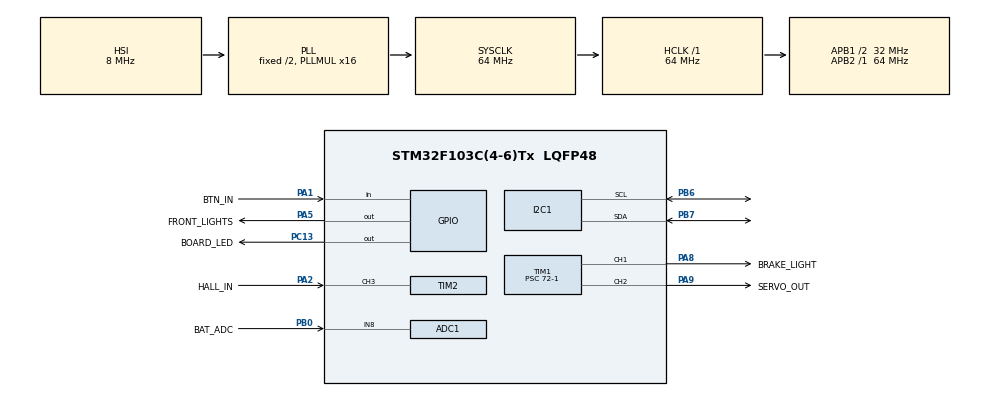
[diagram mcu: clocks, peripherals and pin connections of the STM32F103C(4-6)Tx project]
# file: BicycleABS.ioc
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ADC1.Channel-6\#ChannelRegularConversion=ADC_CHANNEL_8
ADC1.NbrOfConversionFlag=1
ADC1.Rank-6\#ChannelRegularConversion=1
ADC1.SamplingTime-6\#ChannelRegularConversion=ADC_SAMPLETIME_239CYCLES_5
ADC1.master=1
I2C1.I2C_Mode=I2C_Fast
Mcu.Family=STM32F1
Mcu.Name=STM32F103C(4-6)Tx
Mcu.Package=LQFP48
NVIC.PriorityGroup=NVIC_PRIORITYGROUP_4
NVIC.TIM2_IRQn=true\:0\:0\:false\:false\:true\:true\:true\:true
NVIC.TIM3_IRQn=true\:0\:0\:false\:false\:true\:true\:true\:true
PA1.GPIO_Label=BTN_IN
PA1.GPIO_PuPd=GPIO_PULLUP
PA1.Signal=GPIO_Input
PA13.Mode=Serial_Wire
PA13.Signal=SYS_JTMS-SWDIO
PA14.Mode=Serial_Wire
PA14.Signal=SYS_JTCK-SWCLK
PA2.GPIO_Label=HALL_IN
PA2.GPIO_PuPd=GPIO_PULLUP
PA2.Signal=S_TIM2_CH3
PA5.GPIO_Label=FRONT_LIGHTS
PA5.Signal=GPIO_Output
PA8.GPIO_Label=BRAKE_LIGHT
PA8.Signal=S_TIM1_CH1
PA9.GPIO_Label=SERVO_OUT
PA9.Signal=S_TIM1_CH2
PB0.GPIO_Label=BAT_ADC
PB0.Signal=ADCx_IN8
PB6.Mode=I2C
PB6.Signal=I2C1_SCL
PB7.Mode=I2C
PB7.Signal=I2C1_SDA
PC13-TAMPER-RTC.GPIO_Label=BOARD_LED
PC13-TAMPER-RTC.Signal=GPIO_Output
PD0-OSC_IN.Mode=HSE-External-Clock-Source
PD0-OSC_IN.Signal=RCC_OSC_IN
PD1-OSC_OUT.Mode=HSE-External-Clock-Source
PD1-OSC_OUT.Signal=RCC_OSC_OUT
ProjectManager.HeapSize=0x200
ProjectManager.StackSize=0x400
ProjectManager.TargetToolchain=STM32CubeIDE
RCC.ADCPresc=RCC_ADCPCLK2_DIV6
RCC.AHBFreq_Value=64000000
RCC.APB1CLKDivider=RCC_HCLK_DIV2
RCC.APB1Freq_Value=32000000
RCC.APB1TimFreq_Value=64000000
RCC.APB2Freq_Value=64000000
RCC.APB2TimFreq_Value=64000000
RCC.HCLKFreq_Value=64000000
RCC.PLLMUL=RCC_PLL_MUL16
RCC.SYSCLKFreq_VALUE=64000000
RCC.SYSCLKSource=RCC_SYSCLKSOURCE_PLLCLK
RCC.USBFreq_Value=64000000
SH.ADCx_IN8.0=ADC1_IN8,IN8
SH.S_TIM1_CH1.0=TIM1_CH1,PWM Generation1 CH1
SH.S_TIM1_CH2.0=TIM1_CH2,PWM Generation2 CH2
SH.S_TIM2_CH3.0=TIM2_CH3,Input_Capture3_from_TI3
TIM1.Channel-PWM\ Generation1\ CH1=TIM_CHANNEL_1
TIM1.Channel-PWM\ Generation2\ CH2=TIM_CHANNEL_2
TIM1.Period=20000-1
TIM1.Prescaler=72-1
TIM1.Pulse-PWM\ Generation1\ CH1=9999
TIM1.Pulse-PWM\ Generation2\ CH2=9999
TIM1.TIM_MasterOutputTrigger=TIM_TRGO_RESET
TIM1.TIM_MasterSlaveMode=TIM_MASTERSLAVEMODE_DISABLE
TIM2.Channel-Input_Capture3_from_TI3=TIM_CHANNEL_3
TIM2.ICFilter_CH3=0
TIM2.ICPrescaler-Input_Capture3_from_TI3=TIM_ICPSC_DIV1
TIM2.Period=65535
TIM2.Prescaler=14999
TIM3.Period=3000-1
TIM3.Prescaler=1200-1
VP_TIM1_VS_ClockSourceINT.Mode=Internal
VP_TIM2_VS_ClockSourceINT.Mode=Internal
VP_TIM3_VS_ClockSourceINT.Mode=Internal
board=custom

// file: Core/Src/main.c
/* USER CODE BEGIN Header */
/**
  ******************************************************************************
  * @file           : main.c
  * @brief          : Main program body
  ******************************************************************************
  * @attention
  *
  * Copyright (c) 2024 STMicroelectronics.
  * All rights reserved.
  *
  * This software is licensed under terms that can be found in the LICENSE file
  * in the root directory of this software component.
  * If no LICENSE file comes with this software, it is provided AS-IS.
  *
  ******************************************************************************
  */
/* USER CODE END Header */
#include "main.h"
#include "adc.h"
#include "i2c.h"
#include "tim.h"
#include "gpio.h"

/* USER CODE BEGIN Includes */
#include <inttypes.h>
#include <stdio.h>
#include <stdlib.h>
#include "As5600.h"
#include "servo.h"
#include "stm32f1xx_ll_exti.h"

#include "../sh1106/sh1106.h"
#include "../bitmaps/bitmaps.h"
#include "../menu/menu.h"
#include "../settings.h"
#include "../button/button.h"
/* USER CODE END Includes */

/* USER CODE BEGIN PV */
uint32_t kmh = 0;
int32_t last_kmh = 0;
int32_t kmh_diff = 0;
uint32_t brake_lever_angle = 0;
int32_t servo_angle = 0;
int32_t min_servo_angle = 0;

bool abs_on = false;				// if true, the ABS is currently operating
uint32_t abs_time = 0;			// time of the ABS activation

uint64_t apb1_timer_clock = 0;
uint64_t timer_update_constant = 0;
uint64_t period = 0;
uint32_t last_period = 0;
uint32_t last_capture_time = 0;

uint32_t light_mode = 0;

uint32_t last_capture_value = 0;
float last_freq = 0.00;
float current_freq = 0.00;
float avg_freq = 0.00;

char text[50];
/* USER CODE END PV */

void SystemClock_Config(void);

/* USER CODE BEGIN 0 */
long mapInt(uint32_t x, int32_t in_min, int32_t in_max, int32_t out_min, int32_t out_max) {
  return (x - in_min) * (out_max - out_min) / (in_max - in_min) + out_min;
}

uint32_t constrain(uint32_t value, uint32_t max, uint32_t min)
{
	if (value >= max)
		return max;
	else if (value <= min)
		return min;
	return value;
}

uint32_t offset(uint32_t value, uint32_t offset)
{
	if (value <= offset)
		return 0;
	else
		return value - offset;
}

/* USER CODE END 0 */

int main(void)
{

  /* MCU Configuration--------------------------------------------------------*/

  /* Reset of all peripherals, Initializes the Flash interface and the Systick. */
  HAL_Init();

  /* Configure the system clock */
  SystemClock_Config();

  /* Initialize all configured peripherals */
  MX_GPIO_Init();
  MX_TIM1_Init();
  MX_TIM2_Init();
  MX_TIM3_Init();
  MX_I2C1_Init();
  MX_ADC1_Init();
  /* USER CODE BEGIN 2 */
  HAL_TIM_PWM_Start(&htim1, TIM_CHANNEL_1);
  HAL_TIM_PWM_Start(&htim1, TIM_CHANNEL_2);
  HAL_TIM_IC_Start_IT(&htim2, TIM_CHANNEL_3);
  //HAL_TIM_PWM_Start(&htim3, TIM_CHANNEL_1);
  HAL_TIM_Base_Start_IT(&htim3);
  HAL_ADCEx_Calibration_Start(&hadc1);

  apb1_timer_clock = HAL_RCC_GetPCLK1Freq() * 2 / 100;
  timer_update_constant = (TIM3->PSC + 1) * (TIM3->ARR + 1) * (720 / ((TIM2->PSC + 1) / 1000));

  SERVO_Write(&htim1, TIM_CHANNEL_2, servo_max, 1);

  SH1106_Init();
  SH1106_SetBrightness(screen_brightness);
  SH1106_ClearScreen();

  AS5600_TypeDef as5600;
  AS5600_Init();
  Get_Magnet_Status(&as5600);
  bool magnet_status = as5600.Status_Magnet;

  if (magnet_status) SH1106_WriteChars(0, 0, "magnete ok", 10, Arial_12pt, 1);
  else
  {
	  SH1106_WriteChars(0, 0, "Magnete NON OK\nPremi un tasto\nper continuare", 44, Arial_12pt, 1);
	  while (1)
	  {
		  if (!HAL_GPIO_ReadPin(BTN_IN_GPIO_Port, BTN_IN_Pin))
			  break;
	  }
  }

  SH1106_ClearScreen();
  SH1106_SetScreenAutoUpdate(false);

  uint32_t flashing_lights_time = 0;
  uint32_t deltat = 0;
  uint32_t last_time = 0;
  float traveled_meters = 0.00;
  uint32_t mvbat = 0;
  bool show_low_bat = false;
  char decimal_travel_string[2];
  uint32_t raw_brake_lever_angle = 0;
  /* USER CODE END 2 */

  /* Infinite loop */
  /* USER CODE BEGIN WHILE */
  while (1)
  {
	  deltat = uwTick - last_time;
	  last_time = uwTick;

	  // clear screen
	  SH1106_FillScreen(BLACK);

	  Get_Raw_Angle(&as5600);
	  raw_brake_lever_angle = as5600.Raw_sensor_Angle;
	  brake_lever_angle = offset(raw_brake_lever_angle, BRAKE_ANGLE_OFFSET);

	  if (!abs_on)
	  {
		  servo_angle = mapInt((int16_t)(brake_lever_angle), 0, BRAKE_ANGLE_MAX, servo_max, servo_min);
		  servo_angle = constrain(servo_angle, servo_max, servo_min);
	  }
	  else
	  {
		  // increase brake pressure gradually
		  if (servo_angle - SERVO_ABS_BRAKE_RATE > min_servo_angle && min_servo_angle >= servo_min)
			  servo_angle -= SERVO_ABS_BRAKE_RATE;
		  else abs_on = false;
	  }

	  if (mvbat > LOW_BATTERY_THRESHOLD)
	  {
		  if (servo_enabled)
			  SERVO_Write(&htim1, TIM_CHANNEL_2, servo_angle, 1);
		  else
		  {
			  if (!servo_hold)
				  SERVO_Write(&htim1, TIM_CHANNEL_2, servo_max, 1);
		  }
	  }
	  else
		  SERVO_Write(&htim1, TIM_CHANNEL_2, servo_max, 1);

	  // disable abs if brake lever is released
	  if (brake_lever_angle <= BRAKE_THRESHOLD || (kmh == 0 && brake_lever_angle <= BRAKE_THRESHOLD))
		  abs_on = false;

	  // -------------------- TRAVEL --------------------
	  traveled_meters += (float)kmh / 3.6 * (float)deltat / 1000.0;
	  uint32_t int_travel = traveled_meters / 1000;
	  uint32_t decimal_travel = traveled_meters - int_travel * 1000;

	  // -------------------- BATTERY VOLTAGE --------------------
	  HAL_ADC_Start(&hadc1);
	  HAL_ADC_PollForConversion(&hadc1, HAL_MAX_DELAY);
	  uint32_t raw_value = HAL_ADC_GetValue(&hadc1);
	  float vbat = (float)raw_value / 4096.0 * 3.3 * 4;
	  mvbat = vbat * 1000;
	  uint32_t int_volt = vbat;
	  uint32_t decimal_volt = vbat * 100 - int_volt * 100;

	  // -------------------- HEADLIGHT AND BRAKE LIGHT --------------------
	  switch (light_mode)
	  {
	  case 0:
	  {
		  // -------------------- LIGHTS OFF --------------------
		  HAL_GPIO_WritePin(FRONT_LIGHTS_GPIO_Port, FRONT_LIGHTS_Pin, GPIO_PIN_RESET);

		  if (servo_angle <= BRAKE_THRESHOLD)
			  __HAL_TIM_SET_COMPARE(&htim1, TIM_CHANNEL_1, TIM1->ARR);
		  else
			  __HAL_TIM_SET_COMPARE(&htim1, TIM_CHANNEL_1, 0);

		  break;
	  }
	  case 1:
	  {
		  // -------------------- LIGHTS ON --------------------
		  HAL_GPIO_WritePin(FRONT_LIGHTS_GPIO_Port, FRONT_LIGHTS_Pin, GPIO_PIN_SET);

		  if (servo_angle <= BRAKE_THRESHOLD)
			  __HAL_TIM_SET_COMPARE(&htim1, TIM_CHANNEL_1, TIM1->ARR);
		  else
			  __HAL_TIM_SET_COMPARE(&htim1, TIM_CHANNEL_1, brake_light_pwm_period);

		  break;
	  }
	  case 2:
	  {
		  // -------------------- FLASHER --------------------
		  if (uwTick - flashing_lights_time > LIGHT_FLASHER_TIME)
		  {
			  flashing_lights_time = uwTick;

			  if (__HAL_TIM_GET_COMPARE(&htim1, TIM_CHANNEL_1) == TIM1->ARR)
				  __HAL_TIM_SET_COMPARE(&htim1, TIM_CHANNEL_1, 0);
			  else
				  __HAL_TIM_SET_COMPARE(&htim1, TIM_CHANNEL_1, TIM1->ARR);
		  }

		  break;
	  }
	  case 3:
	  {
		  light_mode = 0;
		  break;
	  }
	  }

	  // -------------------- DRAWING FUNCTIONS --------------------

	  if (mvbat > LOW_BATTERY_THRESHOLD)
	  {
		  // -------------------- BUTTON --------------------
		  uint8_t press_type = BUTTON_Handle(BTN_IN_GPIO_Port, BTN_IN_Pin, 1);

		  if (MENU_Update() != 0)
		  {
			  // -------------------- MENU --------------------
			  MENU_UpdateData(raw_brake_lever_angle, brake_lever_angle, servo_angle, mvbat);
			  MENU_UpdateDebug(kmh, period, last_capture_value, last_capture_time, current_freq, avg_freq);

			  if (press_type == SHORT_PRESS)
				  MENU_ButtonShortPress();
			  else if (press_type == LONG_PRESS)
				  MENU_ButtonLongPress();
			  SH1106_UpdateEntireFrame();
		  }
		  else
		  {
			  // -------------------- MAIN SCREEN --------------------
			  if (press_type == LONG_PRESS)
				  MENU_Set(1);
			  else if (press_type == SHORT_PRESS)
				  light_mode++;

			  // -------------------- LIGHT INDICATOR --------------------
			  if (light_mode == 1)
				  SH1106_DrawBitmap(light_img, 106, 12, 20, 15, false);
			  else if (light_mode == 2)
			  {
				  if (__HAL_TIM_GET_COMPARE(&htim1, TIM_CHANNEL_1) == TIM1->ARR)
					  SH1106_DrawBitmap(light_img, 106, 12, 20, 15, false);
			  }

			  // -------------------- SPEED --------------------
			  memset(text, 0, sizeof(text));
			  sprintf(text, "%" PRIu32, kmh);
			  uint32_t speed_width = SH1106_GetTextWidth(text, 2, Arial_48pt);
			  if (uwTick - abs_time < 2250)
			  {
				  sprintf(text, "%" PRIu32, kmh);
				  speed_width = SH1106_GetTextWidth(text, 3, Arial_48pt);
				  SH1106_WriteChars(64 - speed_width / 2, 7, text, 3, Arial_48pt, false);

				  SH1106_DrawBitmap(abs_img, 4, 34, 33, 25, false);
			  }
			  else
			  {
				  SH1106_WriteChars(64 - speed_width / 2, 7, text, 2, Arial_48pt, false);
			  }
			  sprintf(text, "kmh");
			  SH1106_WriteChars(68 + speed_width / 2, 38, text, 3, Arial_12pt, false);

			  // -------------------- TRAVEL --------------------
			  memset(text, 0, 6);
			  sprintf(text, "%" PRIu32, decimal_travel);
			  leftPadding(decimal_travel_string, text, 3, '0');
			  sprintf(text, "km:\n%" PRIu32 ".%s", int_travel, decimal_travel_string);
			  SH1106_WriteChars(4, 0, text, 8, Arial_12pt, false);

			  // -------------------- BATTERY --------------------
			  uint32_t battery_charge = mapInt(vbat * 1000, LOW_BATTERY_THRESHOLD, CHARGED_BATTERY_THRESHOLD, 0, BATTERY_CHARGE_WIDTH);
			  SH1106_DrawBitmap(battery_img, 112, 2, 15, 8, false);
			  SH1106_DrawRect(112, 2, battery_charge, 8, BLUE, false);
		  }

	  }
	  else
	  {
		  light_mode = 0;

		  if (uwTick - flashing_lights_time > LIGHT_FLASHER_TIME * 2)
		  {
			  flashing_lights_time = uwTick;

			  show_low_bat = !show_low_bat;
		  }

		  if (show_low_bat)
		  {
			  // LOW BATTERY
			  SH1106_DrawBitmap(battery_img, 108, 6, 15, 8, false);

			  memset(text, 0, sizeof(text));
			  sprintf(text, "BATTERIA\nSCARICA\n%" PRIu32 ".%" PRIu32 "V", int_volt, decimal_volt);
			  SH1106_WriteChars(6, 8, text, 22, Arial_12pt, false);
		  }
	  }

	  SH1106_UpdateEntireFrame();
    /* USER CODE END WHILE */

  }
}

void SystemClock_Config(void)
{
  RCC_OscInitTypeDef RCC_OscInitStruct = {0};
  RCC_ClkInitTypeDef RCC_ClkInitStruct = {0};
  RCC_PeriphCLKInitTypeDef PeriphClkInit = {0};

  /** Initializes the RCC Oscillators according to the specified parameters
  * in the RCC_OscInitTypeDef structure.
  */
  RCC_OscInitStruct.OscillatorType = RCC_OSCILLATORTYPE_HSI;
  RCC_OscInitStruct.HSIState = RCC_HSI_ON;
  RCC_OscInitStruct.HSICalibrationValue = RCC_HSICALIBRATION_DEFAULT;
  RCC_OscInitStruct.PLL.PLLState = RCC_PLL_ON;
  RCC_OscInitStruct.PLL.PLLSource = RCC_PLLSOURCE_HSI_DIV2;
  RCC_OscInitStruct.PLL.PLLMUL = RCC_PLL_MUL16;
  if (HAL_RCC_OscConfig(&RCC_OscInitStruct) != HAL_OK)
  {
    Error_Handler();
  }

  /** Initializes the CPU, AHB and APB buses clocks
  */
  RCC_ClkInitStruct.ClockType = RCC_CLOCKTYPE_HCLK|RCC_CLOCKTYPE_SYSCLK
                              |RCC_CLOCKTYPE_PCLK1|RCC_CLOCKTYPE_PCLK2;
  RCC_ClkInitStruct.SYSCLKSource = RCC_SYSCLKSOURCE_PLLCLK;
  RCC_ClkInitStruct.AHBCLKDivider = RCC_SYSCLK_DIV1;
  RCC_ClkInitStruct.APB1CLKDivider = RCC_HCLK_DIV2;
  RCC_ClkInitStruct.APB2CLKDivider = RCC_HCLK_DIV1;

  if (HAL_RCC_ClockConfig(&RCC_ClkInitStruct, FLASH_LATENCY_2) != HAL_OK)
  {
    Error_Handler();
  }
  PeriphClkInit.PeriphClockSelection = RCC_PERIPHCLK_ADC;
  PeriphClkInit.AdcClockSelection = RCC_ADCPCLK2_DIV6;
  if (HAL_RCCEx_PeriphCLKConfig(&PeriphClkInit) != HAL_OK)
  {
    Error_Handler();
  }
}

/* USER CODE BEGIN 4 */
void HAL_TIM_PeriodElapsedCallback(TIM_HandleTypeDef* htim)
{
	if (htim->Instance == TIM3)
	{
		// lock-up check cut-off is around 6 kmh
		if (kmh <= 6)
		{
			if (last_capture_time > uwTick) return;
			// 125 is a calibration value found during testing
			// 125 ms (calibrated; around 150 measured period) is the period
			// around which there is the transition
			// between 2 and 1 kmh (see kmh formula in callback below)
			if (uwTick - last_capture_time > 125)
				kmh = 0;
		}
		// if ((period (+ 3, optionally)) * apb1_timer_clock < timer_update_constant)
		// this is a simplified form of:
		// period * 1000 / 1200 < ((TIM3->PSC + 1) * (TIM3->ARR + 1)) * 1000 / apb1_timer_clock.
		// 3 is a calibration value found in testing to create a deadzone for the
		// lock-up detector. TIM3 is cleared every time an interrupt occurs
		else if ((period) * apb1_timer_clock < timer_update_constant)
		{
			kmh = 0;
			if (brake_lever_angle <= BRAKE_THRESHOLD)
			{
				HAL_GPIO_TogglePin(GPIOC, GPIO_PIN_13);
				// lock-up
				if (abs_enabled)
					abs_on = true;		// true until the bike stops or no brake is applied
				abs_time = uwTick;

				min_servo_angle = servo_angle;
				servo_angle = servo_max;
				SERVO_Write(&htim1, TIM_CHANNEL_2, servo_angle, true);	// release the brake
			}
		}
	}
}

void HAL_TIM_IC_CaptureCallback(TIM_HandleTypeDef *htim)
{
	// capture compare is from TIM2
	if (htim->Channel == HAL_TIM_ACTIVE_CHANNEL_3 && htim->Instance == TIM2)
	{
		uint32_t capture_value = HAL_TIM_ReadCapturedValue(htim, TIM_CHANNEL_3);
		// avoids weird numbers when TIM2 overflows
		if (abs((int)capture_value - (int)last_capture_value) > capture_value / 2)
		{
			last_capture_value = capture_value;
			return;
		}

		__HAL_TIM_SET_COUNTER(&htim3, 0);	// ABS timer reset

		if (last_capture_value > (last_period + capture_value))
			return;

		period = (last_period + capture_value - last_capture_value) / 2;

		last_capture_value = capture_value;
		last_period = period;
		last_capture_time = uwTick;

		// 1 / ((period * 30) / 1200)
		// there are 30 magnets in the encoder and TIM2 clocks at 1200 Hz

		// use this for smoother speed indication but less accurate
		// stop detection

		// (1.0 / 30.0 * (float)(720 / ((TIM2->PSC + 1) / 1000) * 1000))
		// is like 1 / 30 * (clock frequency)
		// if PSC = 15000: 1 / 30 * 4800 = 160

		current_freq = (1.0 / 30.0 * (float)(720 / ((TIM2->PSC + 1) / 1000) * 100)) / (float)period;
		avg_freq = (current_freq + last_freq) / 2.0;
		if (current_freq == 0)
			avg_freq = 0;
		//float freq = 40.0 / (float)period;

		// 2πrƒ = [m/s] * 3.6 = [km/h]
		kmh = 2 * 3.14 * avg_freq * 0.34 * 3.6;
		if (kmh > MAX_SPEED)
			kmh = 0;
		//if (kmh <= 3) kmh = 0;
		last_freq = avg_freq;
	}
}
/* USER CODE END 4 */

void Error_Handler(void)
{
  __disable_irq();
  while (1)
  {
  }
}
